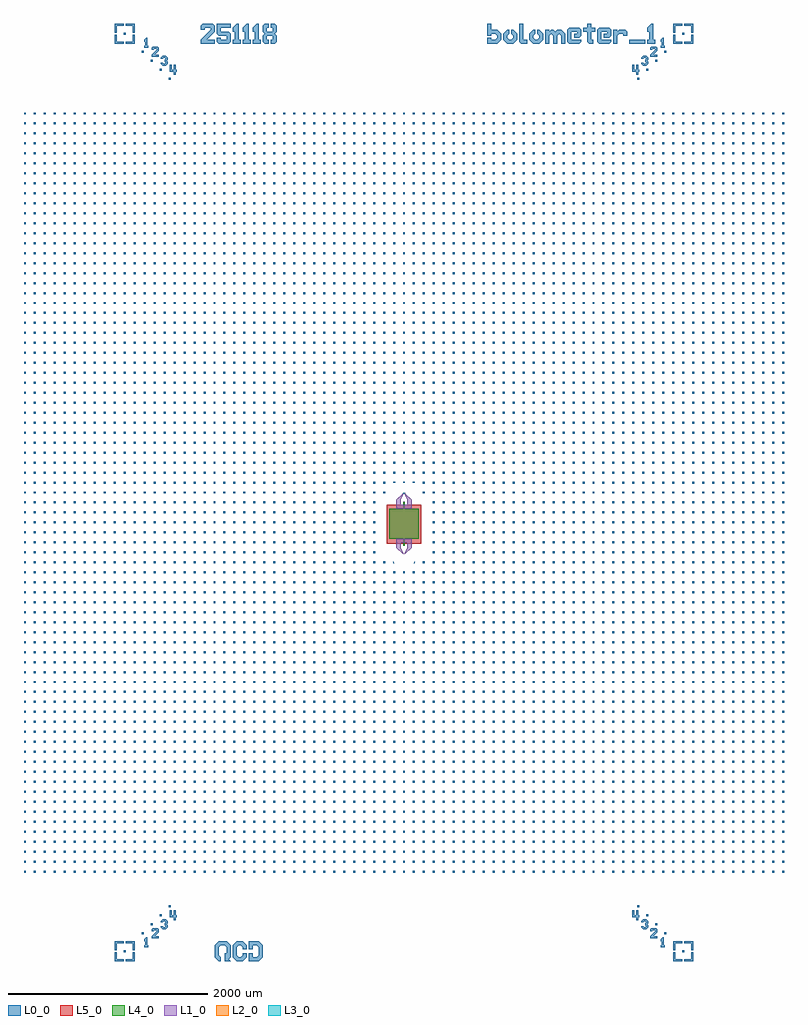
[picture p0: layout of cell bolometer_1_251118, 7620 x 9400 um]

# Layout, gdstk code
import gdstk
lib = gdstk.Library(unit=1e-6, precision=1e-09)
def R(c, l, rs):  # rectangles x0, y0, x1, y1
    for r in rs: c.add(gdstk.rectangle(r[:2], r[2:], *l))
def A(c, l, x, y, w, h, nx, ny, dx, dy):  # array of equal rectangles
    R(c, l, [(x+i*dx, y+j*dy, x+i*dx+w, y+j*dy+h) for i in range(nx) for j in range(ny)])
def P(c, l, *ps):  # polygons
    for p in ps: c.add(gdstk.Polygon(p, *l))
L0_0 = (0, 0)
L1_0 = (1, 0)
L2_0 = (2, 0)
L3_0 = (3, 0)
L4_0 = (4, 0)
L5_0 = (5, 0)

remarks = lib.new_cell('remarks')
R(remarks, L0_0, [(-2810,-4610,-2790,-4590), (2790,-4610,2810,-4590), (-2630,-4430,-2610,-4410), (2610,-4430,2630,-4410), (-2540,-4340,-2520,-4320), (2520,-4340,2540,-4320), (-2450,-4250,-2430,-4230), (2430,-4250,2450,-4230), (-2360,-4160,-2340,-4140), (2340,-4160,2360,-4140), (-2360,4140,-2340,4160), (2340,4140,2360,4160), (-2450,4230,-2430,4250), (2430,4230,2450,4250), (-2540,4320,-2520,4340), (2520,4320,2540,4340), (-2630,4410,-2610,4430), (2610,4410,2630,4430), (2256.667,4500,2416.667,4540), (-2810,4590,-2790,4610), (2790,4590,2810,4610)])
P(remarks, L0_0, [(836.667,4500),(836.667,4560),(876.667,4560),(876.667,4540),(916.667,4540),(936.667,4560),(936.667,4580),(916.667,4600),(876.667,4600),(876.667,4580),(836.667,4580),(836.667,4700),(876.667,4700),(876.667,4640),(936.667,4640),(976.667,4600),(976.667,4540),(936.667,4500)],
  [(1036.667,4500),(996.667,4540),(996.667,4600),(1036.667,4640),(1056.667,4640),(1056.667,4600),(1036.667,4580),(1036.667,4560),(1056.667,4540),(1076.667,4540),(1096.667,4560),(1096.667,4580),(1076.667,4600),(1076.667,4640),(1096.667,4640),(1136.667,4600),(1136.667,4540),(1096.667,4500)],
  [(1176.667,4500),(1156.667,4520),(1156.667,4700),(1196.667,4700),(1196.667,4540),(1236.667,4540),(1236.667,4500)],
  [(1296.667,4500),(1256.667,4540),(1256.667,4600),(1296.667,4640),(1316.667,4640),(1316.667,4600),(1296.667,4580),(1296.667,4560),(1316.667,4540),(1336.667,4540),(1356.667,4560),(1356.667,4580),(1336.667,4600),(1336.667,4640),(1356.667,4640),(1396.667,4600),(1396.667,4540),(1356.667,4500)],
  [(1416.667,4500),(1416.667,4640),(1456.667,4640),(1456.667,4620),(1476.667,4640),(1496.667,4640),(1516.667,4620),(1536.667,4640),(1576.667,4640),(1616.667,4600),(1616.667,4500),(1576.667,4500),(1576.667,4580),(1556.667,4600),(1536.667,4580),(1536.667,4500),(1496.667,4500),(1496.667,4580),(1476.667,4600),(1456.667,4580),(1456.667,4500)],
  [(1656.667,4500),(1636.667,4520),(1636.667,4640),(1656.667,4660),(1756.667,4660),(1776.667,4640),(1776.667,4580),(1756.667,4560),(1704.667,4560),(1704.667,4600),(1736.667,4600),(1736.667,4620),(1676.667,4620),(1676.667,4540),(1776.667,4540),(1776.667,4520),(1756.667,4500)],
  [(1856.667,4500),(1836.667,4520),(1836.667,4620),(1796.667,4620),(1796.667,4660),(1836.667,4660),(1836.667,4700),(1876.667,4700),(1876.667,4660),(1916.667,4660),(1916.667,4620),(1876.667,4620),(1876.667,4540),(1896.667,4540),(1896.667,4500)],
  [(1956.667,4500),(1936.667,4520),(1936.667,4640),(1956.667,4660),(2056.667,4660),(2076.667,4640),(2076.667,4580),(2056.667,4560),(2004.667,4560),(2004.667,4600),(2036.667,4600),(2036.667,4620),(1976.667,4620),(1976.667,4540),(2076.667,4540),(2076.667,4520),(2056.667,4500)],
  [(2096.667,4500),(2096.667,4640),(2136.667,4640),(2136.667,4620),(2156.667,4640),(2216.667,4640),(2236.667,4620),(2236.667,4580),(2196.667,4580),(2196.667,4600),(2156.667,4600),(2136.667,4580),(2136.667,4500)],
  [(2436.667,4500),(2436.667,4540),(2456.667,4540),(2456.667,4620),(2436.667,4620),(2436.667,4660),(2476.667,4700),(2496.667,4700),(2496.667,4540),(2516.667,4540),(2516.667,4500)],
  [(-2036.667,4500),(-2036.667,4540),(-1936.667,4640),(-1936.667,4660),(-1996.667,4660),(-1996.667,4640),(-2036.667,4640),(-2036.667,4680),(-2016.667,4700),(-1916.667,4700),(-1896.667,4680),(-1896.667,4620),(-1976.667,4540),(-1896.667,4540),(-1896.667,4500)],
  [(-1856.667,4500),(-1876.667,4520),(-1876.667,4560),(-1836.667,4560),(-1836.667,4540),(-1776.667,4540),(-1776.667,4580),(-1856.667,4580),(-1876.667,4600),(-1876.667,4700),(-1736.667,4700),(-1736.667,4660),(-1836.667,4660),(-1836.667,4620),(-1756.667,4620),(-1736.667,4600),(-1736.667,4520),(-1756.667,4500)],
  [(-1716.667,4500),(-1716.667,4540),(-1696.667,4540),(-1696.667,4620),(-1716.667,4620),(-1716.667,4660),(-1676.667,4700),(-1656.667,4700),(-1656.667,4540),(-1636.667,4540),(-1636.667,4500)],
  [(-1616.667,4500),(-1616.667,4540),(-1596.667,4540),(-1596.667,4620),(-1616.667,4620),(-1616.667,4660),(-1576.667,4700),(-1556.667,4700),(-1556.667,4540),(-1536.667,4540),(-1536.667,4500)],
  [(-1516.667,4500),(-1516.667,4540),(-1496.667,4540),(-1496.667,4620),(-1516.667,4620),(-1516.667,4660),(-1476.667,4700),(-1456.667,4700),(-1456.667,4540),(-1436.667,4540),(-1436.667,4500)],
  [(-1396.667,4500),(-1416.667,4520),(-1416.667,4580),(-1396.667,4600),(-1416.667,4620),(-1416.667,4680),(-1396.667,4700),(-1356.667,4700),(-1356.667,4660),(-1376.667,4660),(-1376.667,4620),(-1316.667,4620),(-1316.667,4660),(-1336.667,4660),(-1336.667,4700),(-1296.667,4700),(-1276.667,4680),(-1276.667,4620),(-1296.667,4600),(-1276.667,4580),(-1276.667,4520),(-1296.667,4500),(-1336.667,4500),(-1336.667,4540),(-1316.667,4540),(-1316.667,4580),(-1376.667,4580),(-1376.667,4540),(-1356.667,4540),(-1356.667,4500)],
  [(-1856.667,-4700),(-1896.667,-4660),(-1896.667,-4540),(-1856.667,-4500),(-1776.667,-4500),(-1736.667,-4540),(-1736.667,-4660),(-1756.667,-4680),(-1736.667,-4700),(-1796.667,-4700),(-1796.667,-4620),(-1776.667,-4620),(-1776.667,-4560),(-1796.667,-4540),(-1836.667,-4540),(-1856.667,-4560),(-1856.667,-4640),(-1836.667,-4660),(-1836.667,-4700)],
  [(-1676.667,-4700),(-1716.667,-4660),(-1716.667,-4540),(-1676.667,-4500),(-1616.667,-4500),(-1576.667,-4540),(-1576.667,-4580),(-1616.667,-4580),(-1616.667,-4560),(-1636.667,-4540),(-1656.667,-4540),(-1676.667,-4560),(-1676.667,-4640),(-1656.667,-4660),(-1636.667,-4660),(-1616.667,-4640),(-1616.667,-4620),(-1576.667,-4620),(-1576.667,-4660),(-1616.667,-4700)],
  [(-1556.667,-4700),(-1556.667,-4620),(-1516.667,-4620),(-1516.667,-4660),(-1476.667,-4660),(-1456.667,-4640),(-1456.667,-4560),(-1476.667,-4540),(-1516.667,-4540),(-1516.667,-4580),(-1556.667,-4580),(-1556.667,-4500),(-1456.667,-4500),(-1416.667,-4540),(-1416.667,-4660),(-1456.667,-4700)],
  [(-2900,-4590),(-2900,-4500),(-2810,-4500),(-2810,-4520),(-2880,-4520),(-2880,-4590)],
  [(-2900,4500),(-2900,4590),(-2880,4590),(-2880,4520),(-2810,4520),(-2810,4500)],
  [(2810,4500),(2810,4520),(2880,4520),(2880,4590),(2900,4590),(2900,4500)],
  [(2880,-4590),(2880,-4520),(2810,-4520),(2810,-4500),(2900,-4500),(2900,-4590)],
  [(-2900,-4700),(-2900,-4610),(-2880,-4610),(-2880,-4680),(-2810,-4680),(-2810,-4700)],
  [(-2900,4610),(-2900,4700),(-2810,4700),(-2810,4680),(-2880,4680),(-2880,4610)],
  [(2880,4610),(2880,4680),(2810,4680),(2810,4700),(2900,4700),(2900,4610)],
  [(2810,-4700),(2810,-4680),(2880,-4680),(2880,-4610),(2900,-4610),(2900,-4700)],
  [(-2790,-4700),(-2790,-4680),(-2720,-4680),(-2720,-4610),(-2700,-4610),(-2700,-4700)],
  [(-2720,4610),(-2720,4680),(-2790,4680),(-2790,4700),(-2700,4700),(-2700,4610)],
  [(2700,4610),(2700,4700),(2790,4700),(2790,4680),(2720,4680),(2720,4610)],
  [(2700,-4700),(2700,-4610),(2720,-4610),(2720,-4680),(2790,-4680),(2790,-4700)],
  [(-2720,-4590),(-2720,-4520),(-2790,-4520),(-2790,-4500),(-2700,-4500),(-2700,-4590)],
  [(-2790,4500),(-2790,4520),(-2720,4520),(-2720,4590),(-2700,4590),(-2700,4500)],
  [(2700,4500),(2700,4590),(2720,4590),(2720,4520),(2790,4520),(2790,4500)],
  [(2700,-4590),(2700,-4500),(2790,-4500),(2790,-4520),(2720,-4520),(2720,-4590)],
  [(-2605,-4560),(-2605,-4540),(-2595,-4540),(-2595,-4500),(-2605,-4500),(-2605,-4480),(-2585,-4460),(-2575,-4460),(-2575,-4540),(-2565,-4540),(-2565,-4560)],
  [(-2605,4460),(-2605,4480),(-2595,4480),(-2595,4520),(-2605,4520),(-2605,4540),(-2585,4560),(-2575,4560),(-2575,4480),(-2565,4480),(-2565,4460)],
  [(2575,4460),(2575,4480),(2585,4480),(2585,4520),(2575,4520),(2575,4540),(2595,4560),(2605,4560),(2605,4480),(2615,4480),(2615,4460)],
  [(2575,-4560),(2575,-4540),(2585,-4540),(2585,-4500),(2575,-4500),(2575,-4480),(2595,-4460),(2605,-4460),(2605,-4540),(2615,-4540),(2615,-4560)],
  [(-2530,-4470),(-2530,-4450),(-2480,-4400),(-2480,-4390),(-2510,-4390),(-2510,-4400),(-2530,-4400),(-2530,-4380),(-2520,-4370),(-2470,-4370),(-2460,-4380),(-2460,-4410),(-2500,-4450),(-2460,-4450),(-2460,-4470)],
  [(-2530,4370),(-2530,4390),(-2480,4440),(-2480,4450),(-2510,4450),(-2510,4440),(-2530,4440),(-2530,4460),(-2520,4470),(-2470,4470),(-2460,4460),(-2460,4430),(-2500,4390),(-2460,4390),(-2460,4370)],
  [(2470,4370),(2470,4390),(2520,4440),(2520,4450),(2490,4450),(2490,4440),(2470,4440),(2470,4460),(2480,4470),(2530,4470),(2540,4460),(2540,4430),(2500,4390),(2540,4390),(2540,4370)],
  [(2470,-4470),(2470,-4450),(2520,-4400),(2520,-4390),(2490,-4390),(2490,-4400),(2470,-4400),(2470,-4380),(2480,-4370),(2530,-4370),(2540,-4380),(2540,-4410),(2500,-4450),(2540,-4450),(2540,-4470)],
  [(-2420,-4380),(-2440,-4360),(-2440,-4350),(-2420,-4350),(-2410,-4360),(-2400,-4360),(-2390,-4350),(-2400,-4340),(-2400,-4320),(-2390,-4310),(-2400,-4300),(-2410,-4300),(-2420,-4310),(-2440,-4310),(-2440,-4300),(-2420,-4280),(-2390,-4280),(-2370,-4300),(-2370,-4320),(-2380,-4330),(-2370,-4340),(-2370,-4360),(-2390,-4380)],
  [(-2420,4280),(-2440,4300),(-2440,4310),(-2420,4310),(-2410,4300),(-2400,4300),(-2390,4310),(-2400,4320),(-2400,4340),(-2390,4350),(-2400,4360),(-2410,4360),(-2420,4350),(-2440,4350),(-2440,4360),(-2420,4380),(-2390,4380),(-2370,4360),(-2370,4340),(-2380,4330),(-2370,4320),(-2370,4300),(-2390,4280)],
  [(2400,4280),(2380,4300),(2380,4310),(2400,4310),(2410,4300),(2420,4300),(2430,4310),(2420,4320),(2420,4340),(2430,4350),(2420,4360),(2410,4360),(2400,4350),(2380,4350),(2380,4360),(2400,4380),(2430,4380),(2450,4360),(2450,4340),(2440,4330),(2450,4320),(2450,4300),(2430,4280)],
  [(2400,-4380),(2380,-4360),(2380,-4350),(2400,-4350),(2410,-4360),(2420,-4360),(2430,-4350),(2420,-4340),(2420,-4320),(2430,-4310),(2420,-4300),(2410,-4300),(2400,-4310),(2380,-4310),(2380,-4300),(2400,-4280),(2430,-4280),(2450,-4300),(2450,-4320),(2440,-4330),(2450,-4340),(2450,-4360),(2430,-4380)],
  [(-2310,-4290),(-2310,-4260),(-2350,-4260),(-2350,-4190),(-2330,-4190),(-2330,-4240),(-2310,-4240),(-2310,-4190),(-2290,-4190),(-2290,-4240),(-2280,-4240),(-2280,-4260),(-2290,-4260),(-2290,-4290)],
  [(-2310,4190),(-2310,4220),(-2350,4220),(-2350,4290),(-2330,4290),(-2330,4240),(-2310,4240),(-2310,4290),(-2290,4290),(-2290,4240),(-2280,4240),(-2280,4220),(-2290,4220),(-2290,4190)],
  [(2330,4190),(2330,4220),(2290,4220),(2290,4290),(2310,4290),(2310,4240),(2330,4240),(2330,4290),(2350,4290),(2350,4240),(2360,4240),(2360,4220),(2350,4220),(2350,4190)],
  [(2330,-4290),(2330,-4260),(2290,-4260),(2290,-4190),(2310,-4190),(2310,-4240),(2330,-4240),(2330,-4190),(2350,-4190),(2350,-4240),(2360,-4240),(2360,-4260),(2350,-4260),(2350,-4290)])

nb_inv = lib.new_cell('Nb_inv')
R(nb_inv, L1_0, [(-77,-554.4,-35,-504.4), (35,-554.4,77,-504.4), (-77,-504.4,77,-462.4), (-77,-162.4,77,-120.4), (-77,-120.4,-35,-70.4), (35,-120.4,77,-70.4)])
P(nb_inv, L1_0, [(-11,-10.4),(-11,-7.575),(-4.75,-7.575),(-4.75,-4.575),(-11,-4.575),(-11,0),(2,0),(2,-1.575),(5,-1.575),(5,0),(11,0),(11,-10.4),(5,-10.4),(5,-8.825),(2,-8.825),(2,-10.4)],
  [(35,-70.4),(5,-10.4),(11,-10.4),(77,-70.4)],
  [(-77,-70.4),(-11,-10.4),(-5,-10.4),(-35,-70.4)],
  [(-11,-614.4),(-77,-554.4),(-35,-554.4),(-5,-614.4)],
  [(5,-614.4),(35,-554.4),(77,-554.4),(11,-614.4)])

jj1 = lib.new_cell('JJ1')
A(jj1, L2_0, -2.45, -7.575, 2.15, 0.25, 1, 7, 0, 0.5)
R(jj1, L2_0, [(-1.45,-9.325,-1.3,-1.075), (-2.45,-8.325,3,-7.825), (-5.75,-4.075,-0.3,-3.575), (-2.45,-2.575,4.5,-2.075)])

ghost1 = lib.new_cell('Ghost1')
A(ghost1, L3_0, -3.25, -7.625, 0.9, 0.35, 1, 7, 0, 0.5)
A(ghost1, L3_0, -0.4, -7.625, 0.9, 0.35, 1, 7, 0, 0.5)
R(ghost1, L3_0, [(-1.5,-10.125,-1.25,-9.225), (-3.25,-8.375,-2.35,-7.775), (2.9,-8.375,3.8,-7.775), (-6.55,-4.125,-5.65,-3.525), (-0.4,-4.125,0.5,-3.525), (-3.25,-2.625,-2.35,-2.025), (4.4,-2.625,5.3,-2.025), (-1.5,-1.175,-1.25,-0.275)])

patch = lib.new_cell('Patch')
R(patch, L4_0, [(-10,-534.4,10,-462.4), (-150,-462.4,150,-162.4), (-10,-162.4,10,-90.4), (2,-10.325,3.5,-7.325), (-6.25,-6.075,-4.75,-3.075), (3.5,-3.075,5,-0.075)])

sio2 = lib.new_cell('SiO2')
R(sio2, L5_0, [(-171,-512.4,171,-120.4)])

unnamed_246 = lib.new_cell('Unnamed_246')
A(unnamed_246, L0_0, -3810, -3810, 20, 20, 77, 31, 100, 100)
A(unnamed_246, L0_0, -3810, -710, 20, 20, 37, 2, 100, 700)
A(unnamed_246, L0_0, 190, -710, 20, 20, 37, 2, 100, 700)
A(unnamed_246, L0_0, -3810, -610, 20, 20, 36, 6, 100, 100)
A(unnamed_246, L0_0, 290, -610, 20, 20, 36, 6, 100, 100)
A(unnamed_246, L0_0, -3810, 90, 20, 20, 37, 1, 100, 0)
A(unnamed_246, L0_0, 190, 90, 20, 20, 37, 1, 100, 0)
A(unnamed_246, L0_0, -110, 100, 20, 10, 3, 1, 100, 0)
A(unnamed_246, L0_0, -3810, 190, 20, 20, 77, 37, 100, 100)
P(unnamed_246, L0_0, [(-110,-710),(-110,-690.129),(-97.719,-710)],
  [(97.719,-710),(110,-690.129),(110,-710)])

bolometer_1_251118 = lib.new_cell('bolometer_1_251118')
bolometer_1_251118.add(gdstk.Reference(remarks, (0,0)))
bolometer_1_251118.add(gdstk.Reference(nb_inv, (0,0)))
bolometer_1_251118.add(gdstk.Reference(jj1, (0,0)))
bolometer_1_251118.add(gdstk.Reference(ghost1, (0,0)))
bolometer_1_251118.add(gdstk.Reference(patch, (0,0)))
bolometer_1_251118.add(gdstk.Reference(sio2, (0,0)))
bolometer_1_251118.add(gdstk.Reference(unnamed_246, (0,0)))

lib.write_gds('bolometer_1_251118.gds')
